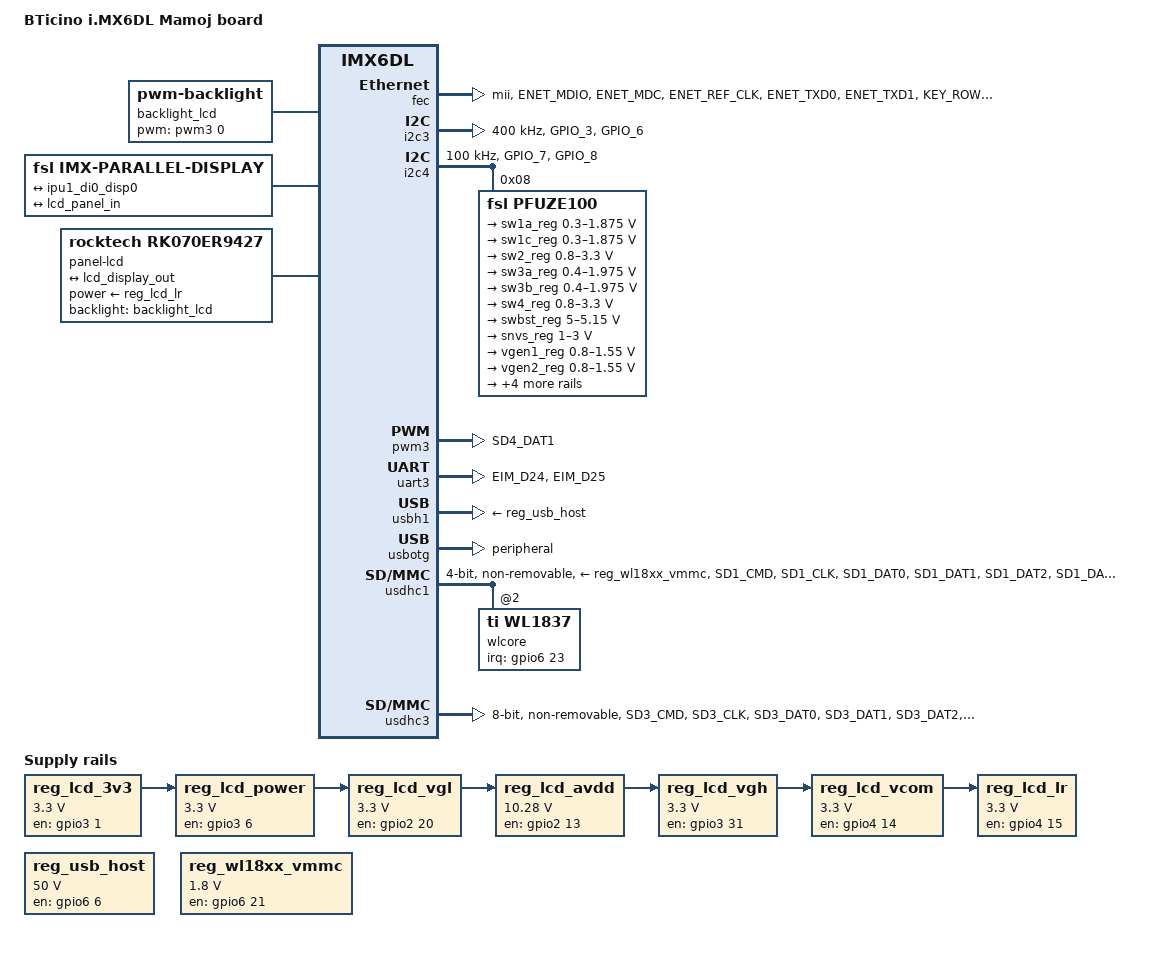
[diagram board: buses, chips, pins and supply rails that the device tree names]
// SPDX-License-Identifier: (GPL-2.0+ OR MIT)
/*
 * Copyright (C) 2018 BTicino
 * Copyright (C) 2018 Amarula Solutions B.V.
 */

/dts-v1/;

#include <dt-bindings/gpio/gpio.h>
#include "imx6dl.dtsi"

/ {
	model = "BTicino i.MX6DL Mamoj board";
	compatible = "bticino,imx6dl-mamoj", "fsl,imx6dl";

	/* Will be filled by the bootloader */
	memory@10000000 {
		device_type = "memory";
		reg = <0x10000000 0>;
	};

	backlight_lcd: backlight-lcd {
		compatible = "pwm-backlight";
		pwms = <&pwm3 0 25000 0>; /* 25000ns -> 40kHz */
		brightness-levels = <0 4 8 16 32 64 128 160 192 224 255>;
		default-brightness-level = <7>;
	};

	display: disp0 {
		compatible = "fsl,imx-parallel-display";
		#address-cells = <1>;
		#size-cells = <0>;
		interface-pix-fmt = "rgb24";
		pinctrl-names = "default";
		pinctrl-0 = <&pinctrl_ipu1_lcdif>;
		status = "okay";

		port@0 {
			reg = <0>;

			lcd_display_in: endpoint {
				remote-endpoint = <&ipu1_di0_disp0>;
			};
		};

		port@1 {
			reg = <1>;

			lcd_display_out: endpoint {
				remote-endpoint = <&lcd_panel_in>;
			};
		};
	};

	panel-lcd {
		compatible = "rocktech,rk070er9427";
		backlight = <&backlight_lcd>;
		power-supply = <&reg_lcd_lr>;
		pinctrl-names = "default";
		pinctrl-0 = <&pinctrl_ipu1_lcdif_pwr>;

		port {
			lcd_panel_in: endpoint {
				remote-endpoint = <&lcd_display_out>;
			};
		};
	};

	reg_lcd_3v3: regulator-lcd-dvdd {
		compatible = "regulator-fixed";
		regulator-name = "lcd-dvdd";
		regulator-min-microvolt = <3300000>;
		regulator-max-microvolt = <3300000>;
		gpio = <&gpio3 1 0>;
		enable-active-high;
		startup-delay-us = <21000>;
	};

	reg_lcd_power: regulator-lcd-power {
		compatible = "regulator-fixed";
		regulator-name = "lcd-enable";
		regulator-min-microvolt = <3300000>;
		regulator-max-microvolt = <3300000>;
		gpio = <&gpio3 6 0>;
		enable-active-high;
		vin-supply = <&reg_lcd_3v3>;
	};

	reg_lcd_vgl: regulator-lcd-vgl {
		compatible = "regulator-fixed";
		regulator-name = "lcd-vgl";
		regulator-min-microvolt = <3300000>;
		regulator-max-microvolt = <3300000>;
		gpio = <&gpio2 20 GPIO_ACTIVE_HIGH>;
		startup-delay-us = <6000>;
		enable-active-high;
		vin-supply = <&reg_lcd_power>;
	};

	reg_lcd_vgh: regulator-lcd-vgh {
		compatible = "regulator-fixed";
		regulator-name = "lcd-vgh";
		regulator-min-microvolt = <3300000>;
		regulator-max-microvolt = <3300000>;
		gpio = <&gpio3 31 GPIO_ACTIVE_HIGH>;
		startup-delay-us = <6000>;
		enable-active-high;
		vin-supply = <&reg_lcd_avdd>;
	};

	reg_lcd_vcom: regulator-lcd-vcom {
		compatible = "regulator-fixed";
		regulator-name = "lcd-vcom";
		regulator-min-microvolt = <3300000>;
		regulator-max-microvolt = <3300000>;
		gpio = <&gpio4 14 GPIO_ACTIVE_HIGH>;
		startup-delay-us = <11000>;
		enable-active-high;
		vin-supply = <&reg_lcd_vgh>;
	};

	reg_lcd_lr: regulator-lcd-lr {
		compatible = "regulator-fixed";
		regulator-name = "lcd-lr";
		regulator-min-microvolt = <3300000>;
		regulator-max-microvolt = <3300000>;
		gpio = <&gpio4 15 GPIO_ACTIVE_HIGH>;
		enable-active-high;
		vin-supply = <&reg_lcd_vcom>;
	};

	reg_lcd_avdd: regulator-lcd-avdd {
		compatible = "regulator-fixed";
		regulator-name = "lcd-avdd";
		regulator-min-microvolt = <10280000>;
		regulator-max-microvolt = <10280000>;
		gpio = <&gpio2 13 GPIO_ACTIVE_HIGH>;
		startup-delay-us = <6000>;
		enable-active-high;
		vin-supply = <&reg_lcd_vgl>;
	};

	reg_usb_host: regulator-usb-vbus {
		compatible = "regulator-fixed";
		regulator-name = "usbhost-vbus";
		pinctrl-names = "default";
		pinctrl-0 = <&pinctrl_usbhost>;
		regulator-min-microvolt = <50000000>;
		regulator-max-microvolt = <50000000>;
		gpio = <&gpio6 6 GPIO_ACTIVE_HIGH>;
		enable-active-high;
	};

	reg_wl18xx_vmmc:  regulator-wl18xx-vmcc {
		compatible = "regulator-fixed";
		regulator-name = "vwl1807";
		pinctrl-names = "default";
		pinctrl-0 = <&pinctrl_wlan>;
		regulator-min-microvolt = <1800000>;
		regulator-max-microvolt = <1800000>;
		gpio = <&gpio6 21 GPIO_ACTIVE_HIGH>;
		startup-delay-us = <70000>;
		enable-active-high;
	};
};

&fec {
	pinctrl-names = "default";
	pinctrl-0 = <&pinctrl_enet>;
	phy-mode = "mii";
	status = "okay";
};

&i2c3 {
	clock-frequency = <400000>;
	pinctrl-names = "default";
	pinctrl-0 = <&pinctrl_i2c3>;
	status = "okay";
};

&i2c4 {
	clock-frequency = <100000>;
	pinctrl-names = "default";
	pinctrl-0 = <&pinctrl_i2c4>;
	status = "okay";

	pfuze100: pmic@8 {
		compatible = "fsl,pfuze100";
		reg = <0x08>;

		regulators {
			/* CPU vdd_arm core */
			sw1a_reg: sw1ab {
				regulator-min-microvolt = <300000>;
				regulator-max-microvolt = <1875000>;
				regulator-boot-on;
				regulator-always-on;
				regulator-ramp-delay = <6250>;
			};

			/* SOC vdd_soc */
			sw1c_reg: sw1c {
				regulator-min-microvolt = <300000>;
				regulator-max-microvolt = <1875000>;
				regulator-boot-on;
				regulator-always-on;
				regulator-ramp-delay = <6250>;
			};

			/* I/O power GEN_3V3 */
			sw2_reg: sw2 {
				regulator-min-microvolt = <800000>;
				regulator-max-microvolt = <3300000>;
				regulator-boot-on;
				regulator-always-on;
			};

			/* DDR memory */
			sw3a_reg: sw3a {
				regulator-min-microvolt = <400000>;
				regulator-max-microvolt = <1975000>;
				regulator-boot-on;
				regulator-always-on;
			};

			/* DDR memory */
			sw3b_reg: sw3b {
				regulator-min-microvolt = <400000>;
				regulator-max-microvolt = <1975000>;
				regulator-boot-on;
				regulator-always-on;
			};

			/* not used */
			sw4_reg: sw4 {
				regulator-min-microvolt = <800000>;
				regulator-max-microvolt = <3300000>;
			};

			/* not used */
			swbst_reg: swbst {
				regulator-min-microvolt = <5000000>;
				regulator-max-microvolt = <5150000>;
			};

			/* PMIC vsnvs. EX boot mode */
			snvs_reg: vsnvs {
				regulator-min-microvolt = <1000000>;
				regulator-max-microvolt = <3000000>;
				regulator-boot-on;
				regulator-always-on;
			};

			vref_reg: vrefddr {
				regulator-boot-on;
				regulator-always-on;
			};

			/* not used */
			vgen1_reg: vgen1 {
				regulator-min-microvolt = <800000>;
				regulator-max-microvolt = <1550000>;
			};

			/* not used */
			vgen2_reg: vgen2 {
				regulator-min-microvolt = <800000>;
				regulator-max-microvolt = <1550000>;
			};

			/* not used */
			vgen3_reg: vgen3 {
				regulator-min-microvolt = <1800000>;
				regulator-max-microvolt = <3300000>;
			};

			/* 1v8 general power */
			vgen4_reg: vgen4 {
				regulator-min-microvolt = <1800000>;
				regulator-max-microvolt = <3300000>;
				regulator-always-on;
			};

			/* 2v8 general power IMX6 */
			vgen5_reg: vgen5 {
				regulator-min-microvolt = <1800000>;
				regulator-max-microvolt = <3300000>;
				regulator-always-on;
			};

			/* 3v3 Ethernet */
			vgen6_reg: vgen6 {
				regulator-min-microvolt = <1800000>;
				regulator-max-microvolt = <3300000>;
				regulator-always-on;
			};
		};
	};
};

&ipu1_di0_disp0 {
	remote-endpoint = <&lcd_display_in>;
};

&pwm3 {
	pinctrl-names = "default";
	pinctrl-0 = <&pinctrl_pwm3>;
	status = "okay";
};

&uart3 {
	pinctrl-names = "default";
	pinctrl-0 = <&pinctrl_uart3>;
	status = "okay";
};

&usbh1 {
	vbus-supply = <&reg_usb_host>;
	status = "okay";
};

&usbotg {
	dr_mode = "peripheral";
	status = "okay";
};

&usdhc1 {
	pinctrl-names = "default";
	pinctrl-0 = <&pinctrl_usdhc1>;
	bus-width = <4>;
	vmmc-supply = <&reg_wl18xx_vmmc>;
	no-1-8-v;
	non-removable;
	wakeup-source;
	keep-power-in-suspend;
	cap-power-off-card;
	max-frequency = <25000000>;
	#address-cells = <1>;
	#size-cells = <0>;
	status = "okay";

	wlcore: wlcore@2 {
		compatible = "ti,wl1837";
		reg = <2>;
		interrupt-parent = <&gpio6>;
		interrupts = <23 IRQ_TYPE_LEVEL_HIGH>;
		tcxo-clock-frequency = <26000000>;
	};
};

&usdhc3 {
	pinctrl-names = "default";
	pinctrl-0 = <&pinctrl_usdhc3>;
	bus-width = <8>;
	non-removable;
	keep-power-in-suspend;
	status = "okay";
};

&iomuxc {
	pinctrl_enet: enetgrp {
		fsl,pins = <
			MX6QDL_PAD_ENET_MDIO__ENET_MDIO		0x1b0b0
			MX6QDL_PAD_ENET_MDC__ENET_MDC		0x1b0b0
			MX6QDL_PAD_ENET_REF_CLK__ENET_TX_CLK	0x1b0b1
			MX6QDL_PAD_ENET_TXD0__ENET_TX_DATA0	0x1b0b0
			MX6QDL_PAD_ENET_TXD1__ENET_TX_DATA1	0x1b0b0
			MX6QDL_PAD_KEY_ROW2__ENET_TX_DATA2	0x1b0b0
			MX6QDL_PAD_KEY_ROW0__ENET_TX_DATA3	0x1b0b0
			MX6QDL_PAD_ENET_TX_EN__ENET_TX_EN	0x1b0b0
			MX6QDL_PAD_GPIO_19__ENET_TX_ER		0x1b0b0
			MX6QDL_PAD_GPIO_18__ENET_RX_CLK		0x1b0b1
			MX6QDL_PAD_ENET_RXD0__ENET_RX_DATA0	0x1b0b0
			MX6QDL_PAD_ENET_RXD1__ENET_RX_DATA1	0x1b0b0
			MX6QDL_PAD_KEY_COL2__ENET_RX_DATA2	0x1b0b0
			MX6QDL_PAD_KEY_COL0__ENET_RX_DATA3      0x1b0b0
			MX6QDL_PAD_ENET_CRS_DV__ENET_RX_EN	0x1b0b0
			MX6QDL_PAD_ENET_RX_ER__ENET_RX_ER	0x1b0b0
			MX6QDL_PAD_KEY_COL3__ENET_CRS		0x1b0b0
			MX6QDL_PAD_KEY_ROW1__ENET_COL		0x1b0b0
		>;
	};

	pinctrl_i2c3: i2c3grp {
		fsl,pins = <
			MX6QDL_PAD_GPIO_3__I2C3_SCL     0x4001b8b1
			MX6QDL_PAD_GPIO_6__I2C3_SDA     0x4001b8b1
		>;
	};

	pinctrl_i2c4: i2c4grp {
		fsl,pins = <
			MX6QDL_PAD_GPIO_7__I2C4_SCL	0x4001b8b1
			MX6QDL_PAD_GPIO_8__I2C4_SDA	0x4001b8b1
		>;
	};

	pinctrl_ipu1_lcdif: pinctrlipu1lcdif { /* parallel port 24-bit */
		fsl,pins = <
			MX6QDL_PAD_DI0_DISP_CLK__IPU1_DI0_DISP_CLK 0x10 /* VDOUT_PCLK */
			MX6QDL_PAD_DI0_PIN15__IPU1_DI0_PIN15       0x10
			MX6QDL_PAD_DI0_PIN2__IPU1_DI0_PIN02        0x10 /* VDOUT_HSYNC */
			MX6QDL_PAD_DI0_PIN3__IPU1_DI0_PIN03        0x10 /* VDOUT_VSYNC */
			MX6QDL_PAD_DI0_PIN4__IPU1_DI0_PIN04	   0x10 /* VDOUT_RESET */
			MX6QDL_PAD_DISP0_DAT0__IPU1_DISP0_DATA00   0x10
			MX6QDL_PAD_DISP0_DAT1__IPU1_DISP0_DATA01   0x10
			MX6QDL_PAD_DISP0_DAT2__IPU1_DISP0_DATA02   0x10
			MX6QDL_PAD_DISP0_DAT3__IPU1_DISP0_DATA03   0x10
			MX6QDL_PAD_DISP0_DAT4__IPU1_DISP0_DATA04   0x10
			MX6QDL_PAD_DISP0_DAT5__IPU1_DISP0_DATA05   0x10
			MX6QDL_PAD_DISP0_DAT6__IPU1_DISP0_DATA06   0x10
			MX6QDL_PAD_DISP0_DAT7__IPU1_DISP0_DATA07   0x10
			MX6QDL_PAD_DISP0_DAT8__IPU1_DISP0_DATA08   0x10
			MX6QDL_PAD_DISP0_DAT9__IPU1_DISP0_DATA09   0x10
			MX6QDL_PAD_DISP0_DAT10__IPU1_DISP0_DATA10  0x10
			MX6QDL_PAD_DISP0_DAT11__IPU1_DISP0_DATA11  0x10
			MX6QDL_PAD_DISP0_DAT12__IPU1_DISP0_DATA12  0x10
			MX6QDL_PAD_DISP0_DAT13__IPU1_DISP0_DATA13  0x10
			MX6QDL_PAD_DISP0_DAT14__IPU1_DISP0_DATA14  0x10
			MX6QDL_PAD_DISP0_DAT15__IPU1_DISP0_DATA15  0x10
			MX6QDL_PAD_DISP0_DAT16__IPU1_DISP0_DATA16  0x10
			MX6QDL_PAD_DISP0_DAT17__IPU1_DISP0_DATA17  0x10
			MX6QDL_PAD_DISP0_DAT18__IPU1_DISP0_DATA18  0x10
			MX6QDL_PAD_DISP0_DAT19__IPU1_DISP0_DATA19  0x10
			MX6QDL_PAD_DISP0_DAT20__IPU1_DISP0_DATA20  0x10
			MX6QDL_PAD_DISP0_DAT21__IPU1_DISP0_DATA21  0x10
			MX6QDL_PAD_DISP0_DAT22__IPU1_DISP0_DATA22  0x10
			MX6QDL_PAD_DISP0_DAT23__IPU1_DISP0_DATA23  0x10
		>;
	};

	pinctrl_ipu1_lcdif_pwr: ipu1lcdifpwrgrp {
		fsl,pins = <
			MX6QDL_PAD_EIM_DA1__GPIO3_IO01		0x40013058 /* EN_LCD33V */
			MX6QDL_PAD_SD4_DAT5__GPIO2_IO13		0x4001b0b0 /* EN_AVDD */
			MX6QDL_PAD_EIM_D31__GPIO3_IO31		0x40013058 /* ENVGH */
			MX6QDL_PAD_EIM_A18__GPIO2_IO20		0x40013058 /* ENVGL */
			MX6QDL_PAD_EIM_DA6__GPIO3_IO06		0x40013058 /* LCD_POWER */
			MX6QDL_PAD_KEY_COL4__GPIO4_IO14		0x40013058 /* EN_VCOM_LCD */
			MX6QDL_PAD_KEY_ROW4__GPIO4_IO15		0x40013058 /* LCD_L_R */
			MX6QDL_PAD_EIM_DA2__GPIO3_IO02		0x40013058 /* LCD_U_D */
		>;
	};

	pinctrl_pwm3: pwm3grp {
		fsl,pins = <
			MX6QDL_PAD_SD4_DAT1__PWM3_OUT 0x1b0b1
		>;
	};

	pinctrl_uart3: uart3grp {
		fsl,pins = <
			MX6QDL_PAD_EIM_D24__UART3_TX_DATA	0x1b0b1
			MX6QDL_PAD_EIM_D25__UART3_RX_DATA	0x1b0b1
		>;
	};

	pinctrl_usbhost: usbhostgrp {
		fsl,pins = <
			MX6QDL_PAD_EIM_A23__GPIO6_IO06		0x4001b0b0
		>;
	};

	pinctrl_usdhc1: usdhc1grp {
		fsl,pins = <
			MX6QDL_PAD_SD1_CMD__SD1_CMD    0x17069
			MX6QDL_PAD_SD1_CLK__SD1_CLK    0x10079
			MX6QDL_PAD_SD1_DAT0__SD1_DATA0 0x17069
			MX6QDL_PAD_SD1_DAT1__SD1_DATA1 0x17069
			MX6QDL_PAD_SD1_DAT2__SD1_DATA2 0x17069
			MX6QDL_PAD_SD1_DAT3__SD1_DATA3 0x17069
		>;
	};

	pinctrl_usdhc3: usdhc3grp {
		fsl,pins = <
			MX6QDL_PAD_SD3_CMD__SD3_CMD	0x17059
			MX6QDL_PAD_SD3_CLK__SD3_CLK	0x10059
			MX6QDL_PAD_SD3_DAT0__SD3_DATA0	0x17059
			MX6QDL_PAD_SD3_DAT1__SD3_DATA1	0x17059
			MX6QDL_PAD_SD3_DAT2__SD3_DATA2	0x17059
			MX6QDL_PAD_SD3_DAT3__SD3_DATA3	0x17059
			MX6QDL_PAD_SD3_DAT4__SD3_DATA4	0x17059
			MX6QDL_PAD_SD3_DAT5__SD3_DATA5	0x17059
			MX6QDL_PAD_SD3_DAT6__SD3_DATA6	0x17059
			MX6QDL_PAD_SD3_DAT7__SD3_DATA7	0x17059
		>;
	};

	pinctrl_wlan: wlangrp {
		fsl,pins = <
			MX6QDL_PAD_RGMII_TD1__GPIO6_IO21	0x4001b0b0
		>;
	};
};
